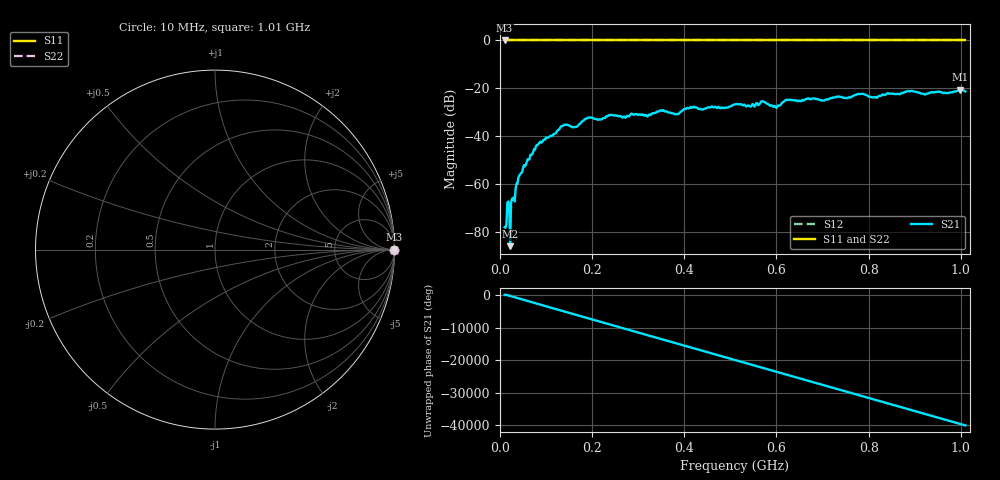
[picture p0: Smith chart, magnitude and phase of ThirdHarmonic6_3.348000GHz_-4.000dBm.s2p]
! 8/17/2025 10:33:33 AM
! C:\ANRITSUVNA\TEMP\TEMP.S2P
! CHANNEL.1
! TR.MEASUREMENT
! RAW.DATA
! RF.CORRECTION.OFF
! AVERAGING.OFF
! IF.BANDWIDTH: 5KHZ
! SWEEPTYPE:  FREQ.SWEEP(Linear)
! Reference Plane Port Info
! PORT:  PORT1  PORT2
! DISTANCE:  0  m  0  m
! TIME:  0  s  0  s
! PHASE.OFFSET:  0  deg.  0  deg.
! LOSS:  0  dB  0  dB
! REF.LOSS:  0  dB  0  dB
! REF.FREQ:  0  Hz  0  Hz
! Power Info
! POWER:  -20  dBm  -20  dBm
! EFF.POWER:  -20  dBm  -20  dBm
! SOURCE.ATTEN:  0  dB  0  dB
! TEST.ATTEN:  0  dB  0  dB
# GHZ S RI R 50.0
! FREQ.GHZ  S11RE  S11IM  S21RE  S21IM  S12RE  S12IM  S22RE  S22IM
!; PortSelection: Port_12
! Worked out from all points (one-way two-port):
!   501 points, 10 MHz to 1.01 GHz, reference 50 ohm
!   highest |S21| = -20.52 dB at 998 MHz (marker M1); lowest = -85.8 dB at 22 MHz (marker M2)
!   lowest |S11| = 0.0 dB at 10 MHz (marker M3)
!   |S11| at or under -10 dB: nowhere
!   |S22| runs from 0.0 to 0.0 dB; largest |S21 - S12| = 1.1
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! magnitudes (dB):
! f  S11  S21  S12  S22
! 10 MHz  0.0  -77.9  0.0  0.0
! 16 MHz  0.0  -67.6  0.0  0.0
! 22 MHz  0.0  -85.8  0.0  0.0
! 26 MHz  0.0  -66.0  0.0  0.0
! 38 MHz  0.0  -59.7  0.0  0.0
! 44 MHz  0.0  -55.7  0.0  0.0
! 82 MHz  0.0  -43.5  0.0  0.0
! 136 MHz  0.0  -35.7  0.0  0.0
! 164 MHz  0.0  -36.1  0.0  0.0
! 178 MHz  0.0  -33.8  0.0  0.0
! 194 MHz  0.0  -32.1  0.0  0.0
! 344 MHz  0.0  -29.7  0.0  0.0
! 384 MHz  0.0  -30.6  0.0  0.0
! 416 MHz  0.0  -28.0  0.0  0.0
! 510 MHz  0.0  -26.6  0.0  0.0
! 570 MHz  0.0  -25.3  0.0  0.0
! 598 MHz  0.0  -27.5  0.0  0.0
! 624 MHz  0.0  -24.7  0.0  0.0
! 678 MHz  0.0  -24.2  0.0  0.0
! 844 MHz  0.0  -22.2  0.0  0.0
! 998 MHz  0.0  -20.5  0.0  0.0
! 1.01 GHz  0.0  -21.3  0.0  0.0
